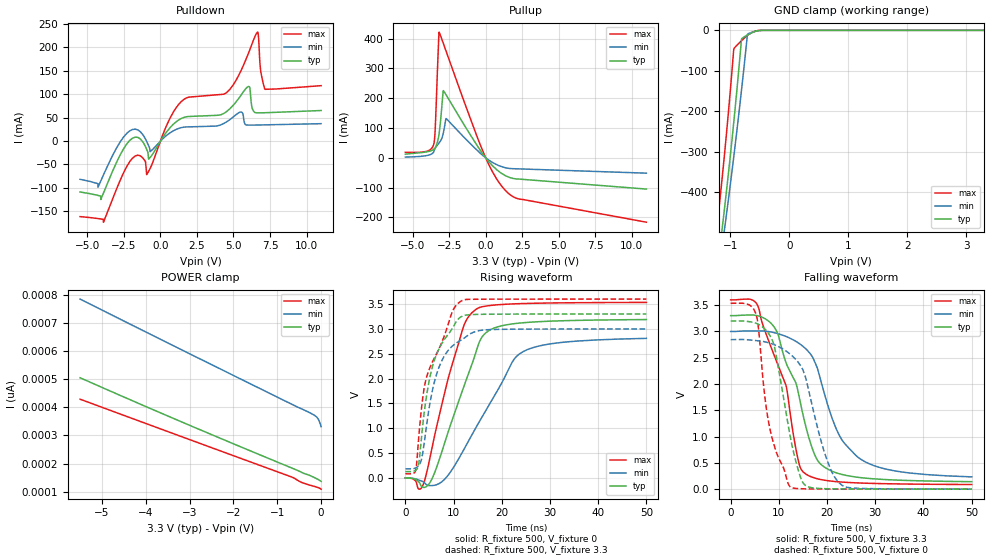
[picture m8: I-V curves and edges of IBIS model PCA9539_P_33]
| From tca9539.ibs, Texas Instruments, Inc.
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[Model]   PCA9539_P_33
Model_type  I/O
Vinl=0.9
Vinh=2.52
Enable   Active-Low
Vref =   3.3V
Rref =   1k
Cref =   50p
Vmeas =   1.65
| variable   typ   min   max
C_comp   4.36pF   3.54pF   7.68pF
| C_pullup   8.79pF   4.63pF   15.14pF
| C_pulldown   3.18pF   2.12pF   3.93pF
| C_tri-state   4.36pF   3.54pF   7.68pF
[Temperature Range]   40   100   -40
| Ambient temperature   25   85   -40
[Voltage range]   3.3   3   3.6
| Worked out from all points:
|   slope of the pulldown table from 0 to 0.495 V, typ, clamps not added: 21.7 ohm
|   slope of the pullup table from 0 to 0.495 V, typ, clamps not added: 17.6 ohm
|   GND clamp passes 1 mA (typ) near -0.53 V on its own axis
|   rising waveform, R_fixture 500, V_fixture 0: 20-80 % time 6.77ns typ, 9.64ns min, 5.63ns max; typ from 0 V to 3.19 V
|   falling waveform, R_fixture 500, V_fixture 3.3: 20-80 % time 6.32ns typ, 7.15ns min, 5.91ns max; typ from 3.3 V to 0.142 V
|   rising waveform, R_fixture 500, V_fixture 3.3: 20-80 % time 4.04ns typ, 4ns min, 5.46ns max; typ from 0.127 V to 3.3 V
|   falling waveform, R_fixture 500, V_fixture 0: 20-80 % time 3.8ns typ, 5ns min, 3.45ns max; typ from 3.2 V to 0 V
[GND Clamp]
| PCA9539_P_33
|   Voltage   I(typ)   I(min)   I(max)
-5.5V     -2.659A    -2.671A    -2.55A
-1.25V    -620.9mA   -649.9mA   -515.2mA
-1.215V   -580.7mA   -614.3mA   -469.4mA
-1.14V    -490.9mA   -535.7mA   -365.6mA
-1.105V   -447.3mA   -497.9mA   -314.2mA
-1.085V   -421.8mA   -476mA     -283.9mA
-1.02V    -335.9mA   -403.1mA   -180.3mA
-945mV    -230.4mA   -315.4mA   -49.25mA
-810mV    -21.17mA   -146.1mA   -25.59mA
-710mV    -11.45mA   -9.703mA   -12.46mA
-460mV    -14.25uA   -32.32uA   -4.731uA
3.3V      136.5pA    383.9pA    92.9pA
[POWER Clamp]
| PCA9539_P_33
|   Voltage   I(typ)   I(min)   I(max)
-5.5V     505.4pA    785.5pA    429pA
-3.22V    350.6pA    607.7pA    297.7pA
-715mV    186.9pA    414.5pA    154.3pA
-620mV    180.8pA    407.2pA    148.2pA
-450mV    169pA      394.8pA    133.1pA
-210mV    154pA      376.8pA    120.9pA
-130mV    148pA      369.3pA    117.3pA
-80mV     144.1pA    361.4pA    114.9pA
-40mV     140.5pA    349.5pA    112.3pA
-95.1fV   136.5pA    331.1pA    108.6pA
[Pulldown]
| PCA9539_P_33
|   Voltage   I(typ)   I(min)   I(max)
-5.5V     -108.8mA   -81.65mA   -161.4mA
-3.9V     -111.1mA   -72.36mA   -173.3mA
-1.91V    6.229mA    24.76mA    -36.43mA
-1.2V     -1.926mA   13.5mA     -36.3mA
-940mV    -17.78mA   -841.7uA   -71.68mA
1.26V     45.29mA    27.14mA    78.76mA
4.51V     62.52mA    40.64mA    103mA
6.02V     116.6mA    34.12mA    187.2mA
6.64V     60.2mA     34.28mA    232.8mA
6.855V    60.3mA     34.41mA    151.8mA
7.155V    60.56mA    34.61mA    110.6mA
11V       65.25mA    37.16mA    118.3mA
[Pullup]
| PCA9539_P_33
|   Voltage   I(typ)   I(min)   I(max)
-5.5V     12.07mA    2.44mA     18.27mA
-4.035V   20.06mA    7.564mA    21.8mA
-3.555V   28.68mA    20.6mA     45.81mA
-3.465V   33.35mA    31.5mA     89.22mA
-3.19V    81.65mA    50.02mA    421.9mA
-2.9V     225.5mA    83.94mA    383.7mA
-2.71V    211mA      131.6mA    357.5mA
-95mV     6.141mA    3.694mA    10.69mA
700mV     -37.53mA   -21.75mA   -66.95mA
1.495V    -63.29mA   -34.72mA   -116.7mA
2.27V     -71.32mA   -37.15mA   -138.1mA
11V       -105mA     -51.54mA   -216.1mA
[Ramp]
| PCA9539_P_33
| variable   typ   min   max
dV/dt_r   2.03/7.15E-09   1.78/1.02E-08   2.26/5.89E-09
dV/dt_f   1.90/6.33E-09   1.67/7.17E-09   2.12/5.96E-09
R_load = 500
[Rising Waveform]
| PCA9539_P_33
R_fixture =   500
C_fixture =   0
L_fixture =   0
V_fixture =   0
V_fixture_min = 0
V_fixture_max = 0
|   Time   V(typ)   V(min)   V(max)
0s        1.457nV    3.047nV    934.2pV
3.68ns    -189.5mV   -76.14mV   -137.7mV
5.33ns    -55.59mV   -155.2mV   509.8mV
7.465ns   496.6mV    -85.09mV   1.436V
11.69ns   1.719V     494.4mV    2.932V
14.58ns   2.513V     1.002V     3.388V
17.26ns   2.961V     1.452V     3.466V
22.33ns   3.102V     2.357V     3.502V
24.54ns   3.124V     2.548V     3.51V
50ns      3.187V     2.809V     3.533V
[Falling Waveform]
| PCA9539_P_33
R_fixture =   500
C_fixture =   0
L_fixture =   0
V_fixture =   3.3
V_fixture_min = 3
V_fixture_max = 3.6
|   Time   V(typ)   V(min)   V(max)
0s        3.3V       3V         3.6V
5.685ns   3.296V     3.009V     3.477V
9.67ns    2.979V     2.961V     2.395V
11.52ns   2.397V     2.903V     1.958V
13.84ns   1.913V     2.793V     623.3mV
15.33ns   1.288V     2.69V      304.8mV
18.52ns   489.9mV    2.128V     186.6mV
22.28ns   300.3mV    1.071V     140.7mV
26.51ns   224.7mV    600.6mV    118.5mV
50ns      142.4mV    233.8mV    88.51mV
[Rising Waveform]
| PCA9539_P_33
R_fixture =   500
C_fixture =   0
L_fixture =   0
V_fixture =   3.3
V_fixture_min = 3
V_fixture_max = 3.6
|   Time   V(typ)   V(min)   V(max)
0s        126.8mV    183.4mV    82.7mV
2.06ns    149.9mV    196.9mV    127mV
2.6ns     216.1mV    230.5mV    609.6mV
3.915ns   1.322V     707.5mV    1.816V
5.67ns    2.258V     1.787V     2.345V
7.945ns   2.765V     2.431V     2.825V
9.815ns   3.021V     2.659V     3.362V
11.31ns   3.227V     2.76V      3.543V
16.73ns   3.294V     2.981V     3.597V
50ns      3.3V       2.999V     3.6V
[Falling Waveform]
| PCA9539_P_33
R_fixture =   500
C_fixture =   0
L_fixture =   0
V_fixture =   0
V_fixture_min = 0
V_fixture_max = 0
|   Time   V(typ)   V(min)   V(max)
0s        3.197V     2.844V     3.536V
5.26ns    3.155V     2.826V     3.325V
7.08ns    3.046V     2.803V     1.764V
8.02ns    2.939V     2.781V     1.203V
9.18ns    2.672V     2.743V     786.7mV
12.38ns   992.6mV    2.566V     44.12mV
15.29ns   88.47mV    2.194V     6.862mV
19.64ns   9.347mV    648.3mV    2.802mV
22.99ns   4.719mV    82.58mV    1.826mV
50ns      496.1uV    1.201mV    227.2uV
